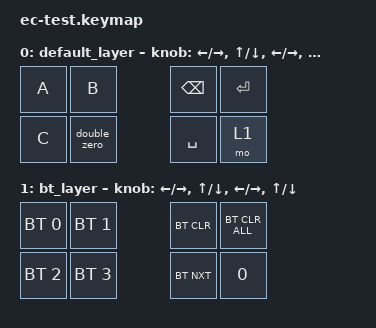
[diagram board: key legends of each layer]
#include <behaviors.dtsi>
#include <dt-bindings/zmk/keys.h>
#include <dt-bindings/zmk/bt.h>

#define ZMK_POINTING_DEFAULT_MOVE_VAL 800
#define ZMK_POINTING_DEFAULT_SCRL_VAL 120
#include <dt-bindings/zmk/pointing.h>

#include <input/processors.dtsi>
#include <zephyr/dt-bindings/input/input-event-codes.h>

/ {
    
    keymap {
        compatible = "zmk,keymap";

        default_layer {
            bindings = <
                &kp A &kp B &kp BACKSPACE    &kp ENTER
                &kp C &double_zero &kp SPACE &mo 1
            >;

            sensor-bindings = <
                &inc_dec_kp LEFT_ARROW RIGHT_ARROW
                &inc_dec_kp UP_ARROW   DOWN_ARROW
                &inc_dec_kp LEFT_ARROW RIGHT_ARROW
                &inc_dec_kp UP_ARROW   DOWN_ARROW
            >;
        };

        bt_layer {
            bindings = <
                &bt BT_SEL 0  &bt BT_SEL 1  &bt BT_CLR  &bt BT_CLR_ALL
                &bt BT_SEL 2  &bt BT_SEL 3  &bt BT_NXT  &kp N0
            >;

            sensor-bindings = <
                &inc_dec_kp LEFT_ARROW RIGHT_ARROW
                &inc_dec_kp UP_ARROW   DOWN_ARROW
                &inc_dec_kp LEFT_ARROW RIGHT_ARROW
                &inc_dec_kp UP_ARROW   DOWN_ARROW
            >;
        };
    };
};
